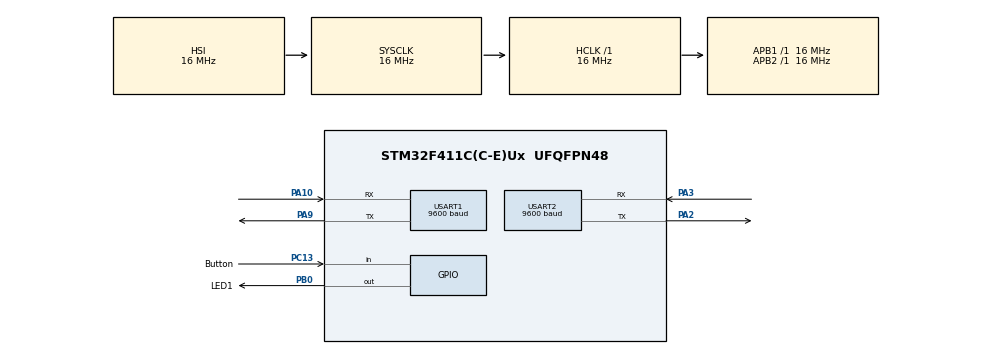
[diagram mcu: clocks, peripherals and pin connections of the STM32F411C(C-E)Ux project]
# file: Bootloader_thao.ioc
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Mcu.Family=STM32F4
Mcu.Name=STM32F411C(C-E)Ux
Mcu.Package=UFQFPN48
NVIC.PriorityGroup=NVIC_PRIORITYGROUP_4
PA10.Mode=Asynchronous
PA10.Signal=USART1_RX
PA13.Mode=Serial_Wire
PA13.Signal=SYS_JTMS-SWDIO
PA14.Mode=Serial_Wire
PA14.Signal=SYS_JTCK-SWCLK
PA2.Mode=Asynchronous
PA2.Signal=USART2_TX
PA3.Mode=Asynchronous
PA3.Signal=USART2_RX
PA9.Mode=Asynchronous
PA9.Signal=USART1_TX
PB0.GPIO_Label=LED1
PB0.Signal=GPIO_Output
PC13-ANTI_TAMP.GPIO_Label=Button
PC13-ANTI_TAMP.Signal=GPIO_Input
PH0\ -\ OSC_IN.Mode=HSE-External-Oscillator
PH0\ -\ OSC_IN.Signal=RCC_OSC_IN
PH1\ -\ OSC_OUT.Mode=HSE-External-Oscillator
PH1\ -\ OSC_OUT.Signal=RCC_OSC_OUT
ProjectManager.HeapSize=0x200
ProjectManager.StackSize=0x400
ProjectManager.TargetToolchain=STM32CubeIDE
RCC.AHBFreq_Value=16000000
RCC.APB1Freq_Value=16000000
RCC.APB2Freq_Value=16000000
RCC.CortexFreq_Value=16000000
RCC.HSE_VALUE=25000000
RCC.HSI_VALUE=16000000
RCC.LSE_VALUE=32768
RCC.SYSCLKFreq_VALUE=16000000
RCC.VCOOutputFreq_Value=192000000
USART1.BaudRate=9600
USART1.VirtualMode=VM_ASYNC
USART2.BaudRate=9600
USART2.VirtualMode=VM_ASYNC
board=custom

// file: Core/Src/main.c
/* USER CODE BEGIN Header */
/**
  ******************************************************************************
  * @file           : main.c
  * @brief          : Main program body
  ******************************************************************************
  * @attention
  *
  * Copyright (c) 2023 STMicroelectronics.
  * All rights reserved.
  *
  * This software is licensed under terms that can be found in the LICENSE file
  * in the root directory of this software component.
  * If no LICENSE file comes with this software, it is provided AS-IS.
  *
  ******************************************************************************
  */
/* USER CODE END Header */
#include "main.h"

/* USER CODE BEGIN Includes */
#include <stdio.h>
#include <string.h>
#include "etx_ota_update.h"
#include <stdbool.h>

/* USER CODE END Includes */

/* USER CODE BEGIN PM */
#define MAJOR 0   // BL Major version Number
#define MINOR 1   // BL Minor version Number
/* USER CODE END PM */

UART_HandleTypeDef huart1;
extern UART_HandleTypeDef huart2;

/* USER CODE BEGIN PV */
const uint8_t BL_Version[2] = { MAJOR, MINOR };
/* USER CODE END PV */

void SystemClock_Config(void);
static void MX_GPIO_Init(void);
static void MX_USART1_UART_Init(void);
static void MX_USART2_UART_Init(void);
/* USER CODE BEGIN PFP */
static void goto_application(void);
/* USER CODE END PFP */

int main(void)
{

  /* MCU Configuration--------------------------------------------------------*/

  /* Reset of all peripherals, Initializes the Flash interface and the Systick. */
  HAL_Init();

  /* Configure the system clock */
  SystemClock_Config();

  /* Initialize all configured peripherals */
  MX_GPIO_Init();
  MX_USART1_UART_Init();
  MX_USART2_UART_Init();
  /* USER CODE BEGIN 2 */
  printf("Starting Bootloader(%d.%d)\r\n", BL_Version[0], BL_Version[1] );
  HAL_GPIO_WritePin(LED1_GPIO_Port, LED1_Pin, GPIO_PIN_SET);
  HAL_Delay(2000);

  /* Check the GPIO for 3 seconds */
    GPIO_PinState OTA_Pin_State;
    uint32_t end_tick = HAL_GetTick() + 3000;

    printf("Press the user Button PC13 to trigger OTA Update...\r\n");
    do
    {
  	  OTA_Pin_State = HAL_GPIO_ReadPin(Button_GPIO_Port, Button_Pin);
  	  uint32_t current_tick = HAL_GetTick();

  	  /* Check the button is pressed or not for 3 seconds */
  	  if((OTA_Pin_State != GPIO_PIN_RESET) || current_tick > end_tick)
  		  break; // Time out
    } while (1);

    /* Start the firmware or application update */
    if(OTA_Pin_State == GPIO_PIN_SET)
    {
  	  printf("Starting Firmware Download !!! \r\n");
  	  /* OTA request, receive the data from uart and flash */
  	  if(etx_ota_download_and_flash() != ETX_OTA_EX_OK)
  	  {
  		  /* Error, don't process */
  		  printf("OTA Update: ERROR! HALT \r\n");
  		  while (1);
  	  }
  	  else
  	  {
  		  /* Reset to load the new applicaiton */
  		  printf("Firmware update is done! Rebooting... \r\n");
  		  HAL_NVIC_SystemReset();
  	  }
    }

  goto_application();
  /* USER CODE END 2 */

  /* Infinite loop */
  while (1)
  {

  }
}

void SystemClock_Config(void)
{
  RCC_OscInitTypeDef RCC_OscInitStruct = {0};
  RCC_ClkInitTypeDef RCC_ClkInitStruct = {0};

  /** Configure the main internal regulator output voltage
  */
  __HAL_RCC_PWR_CLK_ENABLE();
  __HAL_PWR_VOLTAGESCALING_CONFIG(PWR_REGULATOR_VOLTAGE_SCALE1);

  /** Initializes the RCC Oscillators according to the specified parameters
  * in the RCC_OscInitTypeDef structure.
  */
  RCC_OscInitStruct.OscillatorType = RCC_OSCILLATORTYPE_HSI;
  RCC_OscInitStruct.HSIState = RCC_HSI_ON;
  RCC_OscInitStruct.HSICalibrationValue = RCC_HSICALIBRATION_DEFAULT;
  RCC_OscInitStruct.PLL.PLLState = RCC_PLL_NONE;
  if (HAL_RCC_OscConfig(&RCC_OscInitStruct) != HAL_OK)
  {
    Error_Handler();
  }

  /** Initializes the CPU, AHB and APB buses clocks
  */
  RCC_ClkInitStruct.ClockType = RCC_CLOCKTYPE_HCLK|RCC_CLOCKTYPE_SYSCLK
                              |RCC_CLOCKTYPE_PCLK1|RCC_CLOCKTYPE_PCLK2;
  RCC_ClkInitStruct.SYSCLKSource = RCC_SYSCLKSOURCE_HSI;
  RCC_ClkInitStruct.AHBCLKDivider = RCC_SYSCLK_DIV1;
  RCC_ClkInitStruct.APB1CLKDivider = RCC_HCLK_DIV1;
  RCC_ClkInitStruct.APB2CLKDivider = RCC_HCLK_DIV1;

  if (HAL_RCC_ClockConfig(&RCC_ClkInitStruct, FLASH_LATENCY_0) != HAL_OK)
  {
    Error_Handler();
  }
}

static void MX_USART1_UART_Init(void)
{

  huart1.Instance = USART1;
  huart1.Init.BaudRate = 9600;
  huart1.Init.WordLength = UART_WORDLENGTH_8B;
  huart1.Init.StopBits = UART_STOPBITS_1;
  huart1.Init.Parity = UART_PARITY_NONE;
  huart1.Init.Mode = UART_MODE_TX_RX;
  huart1.Init.HwFlowCtl = UART_HWCONTROL_NONE;
  huart1.Init.OverSampling = UART_OVERSAMPLING_16;
  if (HAL_UART_Init(&huart1) != HAL_OK)
  {
    Error_Handler();
  }

}

static void MX_USART2_UART_Init(void)
{

  huart2.Instance = USART2;
  huart2.Init.BaudRate = 9600;
  huart2.Init.WordLength = UART_WORDLENGTH_8B;
  huart2.Init.StopBits = UART_STOPBITS_1;
  huart2.Init.Parity = UART_PARITY_NONE;
  huart2.Init.Mode = UART_MODE_TX_RX;
  huart2.Init.HwFlowCtl = UART_HWCONTROL_NONE;
  huart2.Init.OverSampling = UART_OVERSAMPLING_16;
  if (HAL_UART_Init(&huart2) != HAL_OK)
  {
    Error_Handler();
  }

}

static void MX_GPIO_Init(void)
{
  GPIO_InitTypeDef GPIO_InitStruct = {0};

  /* GPIO Ports Clock Enable */
  __HAL_RCC_GPIOC_CLK_ENABLE();
  __HAL_RCC_GPIOH_CLK_ENABLE();
  __HAL_RCC_GPIOA_CLK_ENABLE();
  __HAL_RCC_GPIOB_CLK_ENABLE();

  /*Configure GPIO pin Output Level */
  HAL_GPIO_WritePin(LED1_GPIO_Port, LED1_Pin, GPIO_PIN_RESET);

  /*Configure GPIO pin : Button_Pin */
  GPIO_InitStruct.Pin = Button_Pin;
  GPIO_InitStruct.Mode = GPIO_MODE_INPUT;
  GPIO_InitStruct.Pull = GPIO_NOPULL;
  HAL_GPIO_Init(Button_GPIO_Port, &GPIO_InitStruct);

  /*Configure GPIO pin : LED1_Pin */
  GPIO_InitStruct.Pin = LED1_Pin;
  GPIO_InitStruct.Mode = GPIO_MODE_OUTPUT_PP;
  GPIO_InitStruct.Pull = GPIO_NOPULL;
  GPIO_InitStruct.Speed = GPIO_SPEED_FREQ_LOW;
  HAL_GPIO_Init(LED1_GPIO_Port, &GPIO_InitStruct);

}

/* USER CODE BEGIN 4 */
/**
  * @brief Print the characters to UART (printf).
  * @retval int
  */
#ifdef __GNUC__
  /* With GCC, small printf (option LD Linker->Libraries->Small printf
     set to 'Yes') calls __io_putchar() */
int __io_putchar(int ch)
#else
int fputc(int ch, FILE *f)
#endif /* __GNUC__ */
{
  /* Place your implementation of fputc here */
  /* e.g. write a character to the UART3 and Loop until the end of transmission */
  HAL_UART_Transmit(&huart1, (uint8_t *)&ch, 1, HAL_MAX_DELAY);
  return ch;
}

static void goto_application(void)
{
  printf("Gonna Jump to Application\r\n");

  void (*app_reset_handler)(void) = (void*)(*((volatile uint32_t*) (0x08040000 + 4U)));

  //__set_MSP(*(volatile uint32_t*) ETX_APP_FLASH_ADDR);

  // Turn OFF the Green Led to tell the user that Bootloader is not running
  HAL_GPIO_WritePin(LED1_GPIO_Port, LED1_Pin, GPIO_PIN_RESET );    //Green LED OFF
  app_reset_handler();    //call the app reset handler
}
/* USER CODE END 4 */

void Error_Handler(void)
{
  __disable_irq();
  while (1)
  {
  }
}
